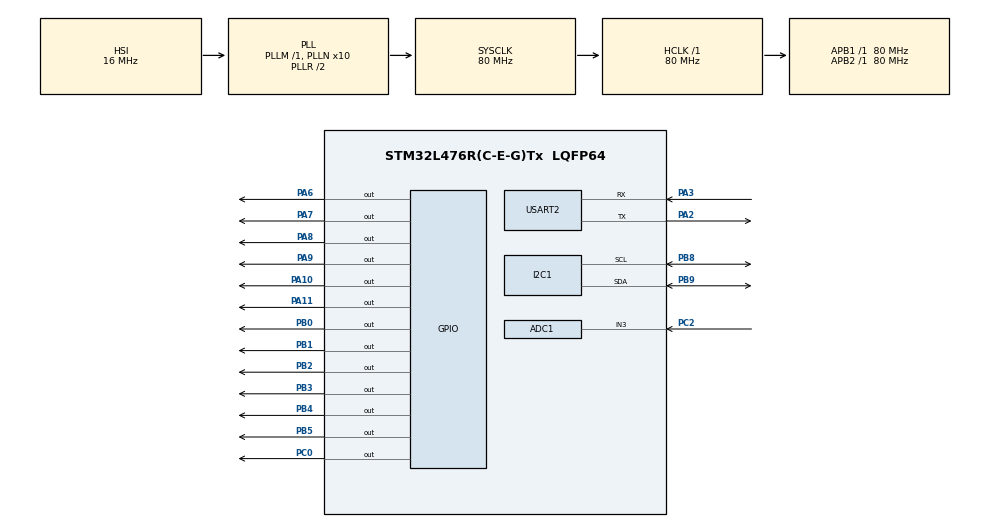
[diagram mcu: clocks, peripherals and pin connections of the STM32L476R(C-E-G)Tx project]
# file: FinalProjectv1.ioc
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ADC1.Channel-0\#ChannelRegularConversion=ADC_CHANNEL_3
ADC1.ContinuousConvMode=ENABLE
ADC1.EOCSelection=ADC_EOC_SEQ_CONV
ADC1.NbrOfConversionFlag=1
ADC1.OffsetNumber-0\#ChannelRegularConversion=ADC_OFFSET_NONE
ADC1.Overrun=ADC_OVR_DATA_OVERWRITTEN
ADC1.Rank-0\#ChannelRegularConversion=1
ADC1.SamplingTime-0\#ChannelRegularConversion=ADC_SAMPLETIME_2CYCLES_5
ADC1.master=1
I2C1.Timing=0x10D19CE4
Mcu.Family=STM32L4
Mcu.Name=STM32L476R(C-E-G)Tx
Mcu.Package=LQFP64
NVIC.PriorityGroup=NVIC_PRIORITYGROUP_4
PA10.Signal=GPIO_Output
PA11.Signal=GPIO_Output
PA2.Mode=Asynchronous
PA2.Signal=USART2_TX
PA3.Mode=Asynchronous
PA3.Signal=USART2_RX
PA6.Signal=GPIO_Output
PA7.Signal=GPIO_Output
PA8.Signal=GPIO_Output
PA9.Signal=GPIO_Output
PB0.Signal=GPIO_Output
PB1.Signal=GPIO_Output
PB2.Signal=GPIO_Output
PB3\ (JTDO-TRACESWO).Signal=GPIO_Output
PB4\ (NJTRST).Signal=GPIO_Output
PB5.Signal=GPIO_Output
PB8.Mode=I2C
PB8.Signal=I2C1_SCL
PB9.Mode=I2C
PB9.Signal=I2C1_SDA
PC0.Signal=GPIO_Output
PC2.Signal=ADCx_IN3
ProjectManager.HeapSize=0x200
ProjectManager.StackSize=0x400
ProjectManager.TargetToolchain=STM32CubeIDE
RCC.ADCFreq_Value=64000000
RCC.AHBFreq_Value=80000000
RCC.APB1Freq_Value=80000000
RCC.APB1TimFreq_Value=80000000
RCC.APB2Freq_Value=80000000
RCC.APB2TimFreq_Value=80000000
RCC.CortexFreq_Value=80000000
RCC.HCLKFreq_Value=80000000
RCC.HSE_VALUE=8000000
RCC.HSI_VALUE=16000000
RCC.LSE_VALUE=32768
RCC.MSI_VALUE=4000000
RCC.PLLN=10
RCC.PLLSourceVirtual=RCC_PLLSOURCE_HSI
RCC.PREFETCH_ENABLE=1
RCC.SYSCLKFreq_VALUE=80000000
RCC.SYSCLKSource=RCC_SYSCLKSOURCE_PLLCLK
RCC.USBFreq_Value=64000000
RCC.VCOOutputFreq_Value=160000000
SH.ADCx_IN3.0=ADC3_IN3
SH.ADCx_IN3.1=ADC1_IN3,IN3-Single-Ended
USART2.VirtualMode-Asynchronous=VM_ASYNC
board=NUCLEO-L476RG

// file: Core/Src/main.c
/* USER CODE BEGIN Header */
/**
  ******************************************************************************
  * @file           : main.c
  * @brief          : Main program body
  ******************************************************************************
  * @attention
  *
  * Copyright (c) 2025 STMicroelectronics.
  * All rights reserved.
  *
  * This software is licensed under terms that can be found in the LICENSE file
  * in the root directory of this software component.
  * If no LICENSE file comes with this software, it is provided AS-IS.
  *
  ******************************************************************************
  */
/* USER CODE END Header */
#include "main.h"

/* USER CODE BEGIN Includes */
#include "stdlib.h"
#include "stdio.h"
#include "string.h"
#include <BH1750_STM32.h>
#include "LCD.h"

/* USER CODE END Includes */

/* USER CODE BEGIN PM */
/* Ambient Light Sensor */
BH1750 mySensor;

/* LED Array Output */
#define myled1 GPIO_PIN_0
#define myled2 GPIO_PIN_1
#define myled3 GPIO_PIN_2
#define myled4 GPIO_PIN_3
#define myled5 GPIO_PIN_4
#define myled6 GPIO_PIN_5

#define lowPowerLED GPIO_PIN_0

/* USER CODE END PM */

ADC_HandleTypeDef hadc1;

I2C_HandleTypeDef hi2c1;

UART_HandleTypeDef huart2;

void SystemClock_Config(void);
static void MX_GPIO_Init(void);
static void MX_USART2_UART_Init(void);
static void MX_I2C1_Init(void);
static void MX_ADC1_Init(void);

int main(void)
{

  /* MCU Configuration--------------------------------------------------------*/

  /* Reset of all peripherals, Initializes the Flash interface and the Systick. */
  HAL_Init();

  /* Configure the system clock */
  SystemClock_Config();

  /* Initialize all configured peripherals */
  MX_GPIO_Init();
  MX_USART2_UART_Init();
  MX_I2C1_Init();
  MX_ADC1_Init();
  /* USER CODE BEGIN 2 */
  BH1750_Init(&mySensor, 0x23, &hi2c1);
  HAL_ADC_Start(&hadc1);
  lcd_init();
  lcd_clear();

  // Start measurement
  if (!BH1750_Begin(&mySensor, BH1750_CONTINUOUS_HIGH_RES_MODE_2)) {
	  Error_Handler();
  }
  /* USER CODE END 2 */

  /* Infinite loop */
  /* USER CODE BEGIN WHILE */
  while (1)
  {
	  /* Start time measurement */
	  uint32_t startTick = HAL_GetTick();

	  /* Clear LCD Screen */
	  lcd_clear();

	  if (BH1750_MeasurementReady(&mySensor, 0)) {
	  	      float lux = BH1750_ReadLightLevel(&mySensor);
	  	      uint8_t buf[50]; // Buffer to hold formatted text

	  	      /* Format the light value into the buffer */
	  	      sprintf((char*)buf, "Light: %.2f lux\r\n", lux);

	  	      /* Transmit the entire string over UART */
	  	      HAL_UART_Transmit(&huart2, buf, strlen((char*)buf), HAL_MAX_DELAY);

	  	      /* Put Reading on LCD */
	  	      char lcd_buf[20];
	  	      sprintf(lcd_buf, "Lux: %.2f", lux);

	  	      lcd_goto(0,0);
	  	      lcd_puts(lcd_buf);

	  	      /* Display Reading on LED Array */
	  	      int num_leds = 1 + (int)(lux / 5000.0f); // 1 LED per 5000 lux

	  	      if (num_leds > 6) {
	  	    	  num_leds = 6; // Cap at 6 LEDs
	  	      }

	  	      // Turn off all LEDs first
			  HAL_GPIO_WritePin(GPIOB,
				  myled1 | myled2 | myled3 | myled4 | myled5 | myled6,
				  GPIO_PIN_RESET);

	  	      // Light up LEDs up to num_leds
	  	      for (int i = 0; i < num_leds; i++) {
	  	    	  HAL_GPIO_WritePin(GPIOB, myled1 << i, GPIO_PIN_SET);
	  	      }
	  }

	  /* <1V Power Supply Check */
	  // Read ADC and control lowPowerLED
	  uint32_t adc_value;
	  float voltage;

	  // Wait for ADC conversion (timeout: 100ms)
	  if (HAL_ADC_PollForConversion(&hadc1, 100) == HAL_OK) {
	      adc_value = HAL_ADC_GetValue(&hadc1);
	      voltage = (adc_value * 3.3f) / 4095.0f; // Convert to voltage (3.3V reference)

	      // Turn on LED if voltage < 1V
	      if (voltage < 1.0f) {
	          HAL_GPIO_WritePin(GPIOC, lowPowerLED, GPIO_PIN_SET);
	      } else {
	          HAL_GPIO_WritePin(GPIOC, lowPowerLED, GPIO_PIN_RESET);
	      }
	  }

	  // Calculate elapsed time
	  uint32_t elapsedTime = HAL_GetTick() - startTick;

	  // Display elapsed time on LCD second line
	  char time_buf[20];
	  sprintf(time_buf, "Time: %3lu ms   ", elapsedTime); // Fixed width for alignment
	  lcd_goto(0, 1); // Column 0, Row 1 (second line)
	  lcd_puts(time_buf);

	  HAL_Delay(500);
    /* USER CODE END WHILE */

  }
}

void SystemClock_Config(void)
{
  RCC_OscInitTypeDef RCC_OscInitStruct = {0};
  RCC_ClkInitTypeDef RCC_ClkInitStruct = {0};

  /** Configure the main internal regulator output voltage
  */
  if (HAL_PWREx_ControlVoltageScaling(PWR_REGULATOR_VOLTAGE_SCALE1) != HAL_OK)
  {
    Error_Handler();
  }

  /** Initializes the RCC Oscillators according to the specified parameters
  * in the RCC_OscInitTypeDef structure.
  */
  RCC_OscInitStruct.OscillatorType = RCC_OSCILLATORTYPE_HSI;
  RCC_OscInitStruct.HSIState = RCC_HSI_ON;
  RCC_OscInitStruct.HSICalibrationValue = RCC_HSICALIBRATION_DEFAULT;
  RCC_OscInitStruct.PLL.PLLState = RCC_PLL_ON;
  RCC_OscInitStruct.PLL.PLLSource = RCC_PLLSOURCE_HSI;
  RCC_OscInitStruct.PLL.PLLM = 1;
  RCC_OscInitStruct.PLL.PLLN = 10;
  RCC_OscInitStruct.PLL.PLLP = RCC_PLLP_DIV7;
  RCC_OscInitStruct.PLL.PLLQ = RCC_PLLQ_DIV2;
  RCC_OscInitStruct.PLL.PLLR = RCC_PLLR_DIV2;
  if (HAL_RCC_OscConfig(&RCC_OscInitStruct) != HAL_OK)
  {
    Error_Handler();
  }

  /** Initializes the CPU, AHB and APB buses clocks
  */
  RCC_ClkInitStruct.ClockType = RCC_CLOCKTYPE_HCLK|RCC_CLOCKTYPE_SYSCLK
                              |RCC_CLOCKTYPE_PCLK1|RCC_CLOCKTYPE_PCLK2;
  RCC_ClkInitStruct.SYSCLKSource = RCC_SYSCLKSOURCE_PLLCLK;
  RCC_ClkInitStruct.AHBCLKDivider = RCC_SYSCLK_DIV1;
  RCC_ClkInitStruct.APB1CLKDivider = RCC_HCLK_DIV1;
  RCC_ClkInitStruct.APB2CLKDivider = RCC_HCLK_DIV1;

  if (HAL_RCC_ClockConfig(&RCC_ClkInitStruct, FLASH_LATENCY_4) != HAL_OK)
  {
    Error_Handler();
  }
}

static void MX_ADC1_Init(void)
{

  ADC_MultiModeTypeDef multimode = {0};
  ADC_ChannelConfTypeDef sConfig = {0};

  /** Common config
  */
  hadc1.Instance = ADC1;
  hadc1.Init.ClockPrescaler = ADC_CLOCK_ASYNC_DIV1;
  hadc1.Init.Resolution = ADC_RESOLUTION_12B;
  hadc1.Init.DataAlign = ADC_DATAALIGN_RIGHT;
  hadc1.Init.ScanConvMode = ADC_SCAN_DISABLE;
  hadc1.Init.EOCSelection = ADC_EOC_SEQ_CONV;
  hadc1.Init.LowPowerAutoWait = DISABLE;
  hadc1.Init.ContinuousConvMode = ENABLE;
  hadc1.Init.NbrOfConversion = 1;
  hadc1.Init.DiscontinuousConvMode = DISABLE;
  hadc1.Init.ExternalTrigConv = ADC_SOFTWARE_START;
  hadc1.Init.ExternalTrigConvEdge = ADC_EXTERNALTRIGCONVEDGE_NONE;
  hadc1.Init.DMAContinuousRequests = DISABLE;
  hadc1.Init.Overrun = ADC_OVR_DATA_OVERWRITTEN;
  hadc1.Init.OversamplingMode = DISABLE;
  if (HAL_ADC_Init(&hadc1) != HAL_OK)
  {
    Error_Handler();
  }

  /** Configure the ADC multi-mode
  */
  multimode.Mode = ADC_MODE_INDEPENDENT;
  if (HAL_ADCEx_MultiModeConfigChannel(&hadc1, &multimode) != HAL_OK)
  {
    Error_Handler();
  }

  /** Configure Regular Channel
  */
  sConfig.Channel = ADC_CHANNEL_3;
  sConfig.Rank = ADC_REGULAR_RANK_1;
  sConfig.SamplingTime = ADC_SAMPLETIME_2CYCLES_5;
  sConfig.SingleDiff = ADC_SINGLE_ENDED;
  sConfig.OffsetNumber = ADC_OFFSET_NONE;
  sConfig.Offset = 0;
  if (HAL_ADC_ConfigChannel(&hadc1, &sConfig) != HAL_OK)
  {
    Error_Handler();
  }

}

static void MX_I2C1_Init(void)
{

  hi2c1.Instance = I2C1;
  hi2c1.Init.Timing = 0x10D19CE4;
  hi2c1.Init.OwnAddress1 = 0;
  hi2c1.Init.AddressingMode = I2C_ADDRESSINGMODE_7BIT;
  hi2c1.Init.DualAddressMode = I2C_DUALADDRESS_DISABLE;
  hi2c1.Init.OwnAddress2 = 0;
  hi2c1.Init.OwnAddress2Masks = I2C_OA2_NOMASK;
  hi2c1.Init.GeneralCallMode = I2C_GENERALCALL_DISABLE;
  hi2c1.Init.NoStretchMode = I2C_NOSTRETCH_DISABLE;
  if (HAL_I2C_Init(&hi2c1) != HAL_OK)
  {
    Error_Handler();
  }

  /** Configure Analogue filter
  */
  if (HAL_I2CEx_ConfigAnalogFilter(&hi2c1, I2C_ANALOGFILTER_ENABLE) != HAL_OK)
  {
    Error_Handler();
  }

  /** Configure Digital filter
  */
  if (HAL_I2CEx_ConfigDigitalFilter(&hi2c1, 0) != HAL_OK)
  {
    Error_Handler();
  }

}

static void MX_USART2_UART_Init(void)
{

  huart2.Instance = USART2;
  huart2.Init.BaudRate = 115200;
  huart2.Init.WordLength = UART_WORDLENGTH_8B;
  huart2.Init.StopBits = UART_STOPBITS_1;
  huart2.Init.Parity = UART_PARITY_NONE;
  huart2.Init.Mode = UART_MODE_TX_RX;
  huart2.Init.HwFlowCtl = UART_HWCONTROL_NONE;
  huart2.Init.OverSampling = UART_OVERSAMPLING_16;
  huart2.Init.OneBitSampling = UART_ONE_BIT_SAMPLE_DISABLE;
  huart2.AdvancedInit.AdvFeatureInit = UART_ADVFEATURE_NO_INIT;
  if (HAL_UART_Init(&huart2) != HAL_OK)
  {
    Error_Handler();
  }

}

static void MX_GPIO_Init(void)
{
  GPIO_InitTypeDef GPIO_InitStruct = {0};

  /* GPIO Ports Clock Enable */
  __HAL_RCC_GPIOC_CLK_ENABLE();
  __HAL_RCC_GPIOA_CLK_ENABLE();
  __HAL_RCC_GPIOB_CLK_ENABLE();

  /*Configure GPIO pin Output Level */
  HAL_GPIO_WritePin(GPIOC, GPIO_PIN_0, GPIO_PIN_RESET);

  /*Configure GPIO pin Output Level */
  HAL_GPIO_WritePin(GPIOA, GPIO_PIN_6|GPIO_PIN_7|GPIO_PIN_8|GPIO_PIN_9
                          |GPIO_PIN_10|GPIO_PIN_11, GPIO_PIN_RESET);

  /*Configure GPIO pin Output Level */
  HAL_GPIO_WritePin(GPIOB, GPIO_PIN_0|GPIO_PIN_1|GPIO_PIN_2|GPIO_PIN_3
                          |GPIO_PIN_4|GPIO_PIN_5, GPIO_PIN_RESET);

  /*Configure GPIO pin : PC0 */
  GPIO_InitStruct.Pin = GPIO_PIN_0;
  GPIO_InitStruct.Mode = GPIO_MODE_OUTPUT_PP;
  GPIO_InitStruct.Pull = GPIO_NOPULL;
  GPIO_InitStruct.Speed = GPIO_SPEED_FREQ_LOW;
  HAL_GPIO_Init(GPIOC, &GPIO_InitStruct);

  /*Configure GPIO pin : PC2 */
  GPIO_InitStruct.Pin = GPIO_PIN_2;
  GPIO_InitStruct.Mode = GPIO_MODE_ANALOG_ADC_CONTROL;
  GPIO_InitStruct.Pull = GPIO_NOPULL;
  HAL_GPIO_Init(GPIOC, &GPIO_InitStruct);

  /*Configure GPIO pins : PA6 PA7 PA8 PA9
                           PA10 PA11 */
  GPIO_InitStruct.Pin = GPIO_PIN_6|GPIO_PIN_7|GPIO_PIN_8|GPIO_PIN_9
                          |GPIO_PIN_10|GPIO_PIN_11;
  GPIO_InitStruct.Mode = GPIO_MODE_OUTPUT_PP;
  GPIO_InitStruct.Pull = GPIO_NOPULL;
  GPIO_InitStruct.Speed = GPIO_SPEED_FREQ_LOW;
  HAL_GPIO_Init(GPIOA, &GPIO_InitStruct);

  /*Configure GPIO pins : PB0 PB1 PB2 PB3
                           PB4 PB5 */
  GPIO_InitStruct.Pin = GPIO_PIN_0|GPIO_PIN_1|GPIO_PIN_2|GPIO_PIN_3
                          |GPIO_PIN_4|GPIO_PIN_5;
  GPIO_InitStruct.Mode = GPIO_MODE_OUTPUT_PP;
  GPIO_InitStruct.Pull = GPIO_NOPULL;
  GPIO_InitStruct.Speed = GPIO_SPEED_FREQ_LOW;
  HAL_GPIO_Init(GPIOB, &GPIO_InitStruct);

}

void Error_Handler(void)
{
  __disable_irq();
  while (1)
  {
  }
}
